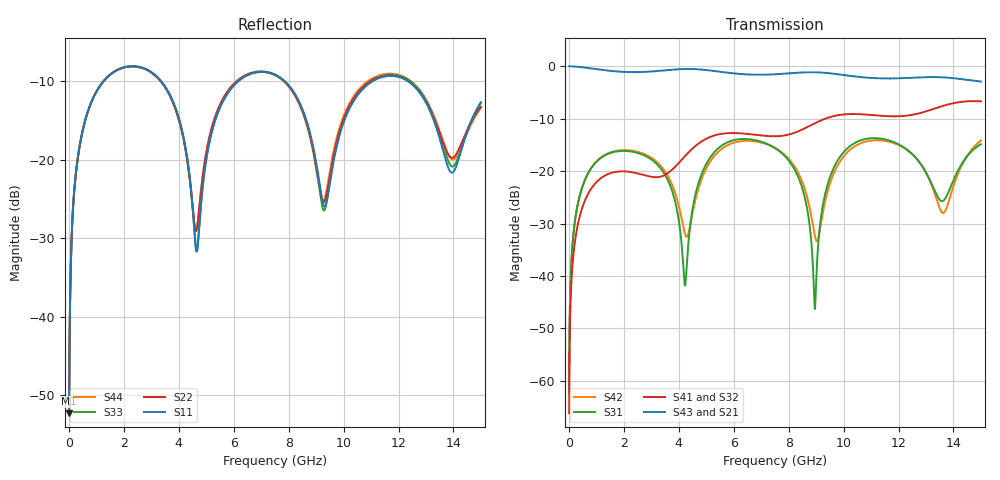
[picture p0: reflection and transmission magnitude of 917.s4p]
! Created with skrf 1.8.0 (http://scikit-rf.org).
# GHz S RI R 50.0
!freq ReS11 ImS11 ReS12 ImS12 ReS13 ImS13
! ReS14 ImS14
! ReS21 ImS21 ReS22 ImS22 ReS23 ImS23
! ReS24 ImS24
! ReS31 ImS31 ReS32 ImS32 ReS33 ImS33
! ReS34 ImS34
! ReS41 ImS41 ReS42 ImS42 ReS43 ImS43
! ReS44 ImS44
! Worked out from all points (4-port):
!   2499 points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, 5 MHz to 15 GHz, reference 50 ohm
!   strongest paths, dB at 5 MHz, 3.476 GHz, 7.19 GHz, 11.1 GHz, 15 GHz:
!     S43: 0.0, -0.8, -1.6, -2.3, -2.9
!     S21: 0.0, -0.8, -1.6, -2.3, -2.9
!     S41: -66.2, -20.8, -13.3, -9.4, -6.7
!     S32: -66.2, -20.8, -13.3, -9.3, -6.7
!     S31: -62.2, -20.5, -14.8, -13.7, -14.9
!     S42: -62.2, -19.9, -14.9, -14.1, -14.2
!   lowest |S11| = -52.3 dB at 5 MHz (marker M1), VSWR 1.00, Z = 50.2 + j0.147 ohm
!   |S11| at or under -10 dB: 3.351 GHz to 6.167 GHz (2.816 GHz wide, 59.2 % of centre); 7.852 GHz to 11.07 GHz (3.214 GHz wide, 34 % of centre); 12.33 GHz to end of sweep (the widest 3 of 4)
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0.005  0.00193 0.00147  0.998 -0.00376  9.8e-05 0.00077  -9.52e-05 -0.000483
       0.998 -0.00376  0.00193 0.00147  -9.52e-05 -0.000483  9.82e-05 0.00077
       9.8e-05 0.00077  -9.52e-05 -0.000483  0.00193 0.00147  0.998 -0.00376
       -9.52e-05 -0.000483  9.82e-05 0.00077  0.998 -0.00376  0.00193 0.00147
1.369321  0.2835 0.1721  0.5219 -0.7441  0.1304 0.0609  -0.0922 -0.0017
          0.5219 -0.7441  0.282 0.1732  -0.0922 -0.00171  0.1346 0.0548
          0.1304 0.0609  -0.0922 -0.00171  0.2835 0.1721  0.5219 -0.7441
          -0.0922 -0.0017  0.1346 0.0548  0.5219 -0.7441  0.282 0.1732
4.739475  0.0291 0.0222  -0.9307 0.00521  0.0307 0.074  0.00837 0.1843
          -0.9307 0.00521  0.0392 0.0285  0.00816 0.1843  -0.000759 0.0716
          0.0307 0.074  0.00816 0.1843  0.0291 0.0224  -0.9307 0.00525
          0.00837 0.1843  -0.000759 0.0716  -0.9307 0.00525  0.0391 0.0287
7.771988  0.2973 -0.1314  0.2905 0.791  0.0988 -0.1077  0.1789 -0.1223
          0.2905 0.791  0.2952 -0.1326  0.1791 -0.1216  0.0942 -0.1155
          0.0988 -0.1077  0.1791 -0.1216  0.2947 -0.1314  0.291 0.7918
          0.1789 -0.1223  0.0942 -0.1155  0.291 0.7918  0.2931 -0.1307
8.953731  0.0689 -0.0818  0.8001 0.3478  -0.00484 0.000232  0.1049 -0.2653
          0.8001 0.3478  0.0696 -0.075  0.106 -0.265  -0.0225 -0.0088
          -0.00484 0.000232  0.106 -0.265  0.0651 -0.0773  0.8011 0.3466
          0.1049 -0.2653  -0.0225 -0.0088  0.8011 0.3466  0.0691 -0.0692
12.04252  0.3304 -0.0512  -0.0069 -0.7682  0.114 -0.1361  -0.3271 0.062
          -0.0069 -0.7682  0.3326 -0.0498  -0.3277 0.0614  0.1122 -0.1342
          0.114 -0.1361  -0.3277 0.0614  0.339 -0.0465  -0.00475 -0.7651
          -0.3271 0.062  0.1122 -0.1342  -0.00475 -0.7651  0.3406 -0.053
15  0.1937 0.1234  -0.6495 0.293  0.1569 0.0884  0.2426 0.3934
    -0.6495 0.293  0.1977 0.0892  0.2412 0.3931  0.1886 0.0525
    0.1569 0.0884  0.2412 0.3931  0.198 0.1211  -0.6509 0.2902
    0.2426 0.3934  0.1886 0.0525  -0.6509 0.2902  0.193 0.0904
